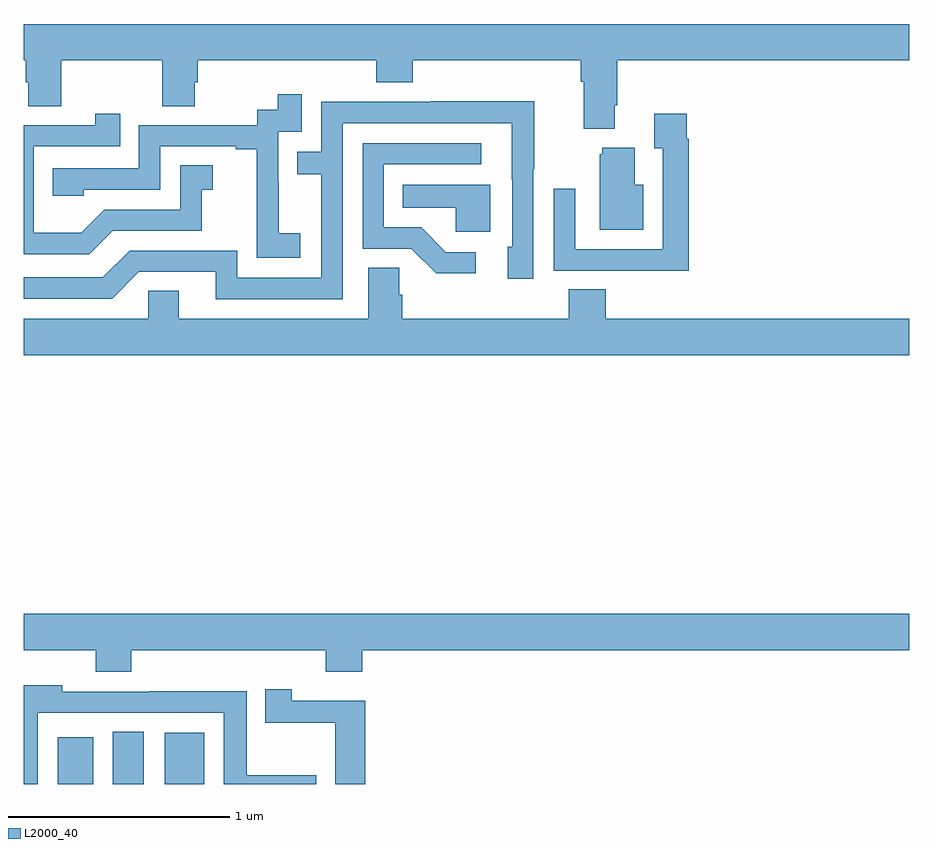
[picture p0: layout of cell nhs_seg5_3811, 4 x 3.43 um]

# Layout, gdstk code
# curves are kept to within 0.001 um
import gdstk
lib = gdstk.Library(unit=1e-6, precision=1e-09)
def R(c, l, rs):  # rectangles x0, y0, x1, y1
    for r in rs: c.add(gdstk.rectangle(r[:2], r[2:], *l))
def P(c, l, *ps):  # polygons
    for p in ps: c.add(gdstk.Polygon(p, *l))
L2000_40 = (2000, 40)

nhs_seg5_3811 = lib.new_cell('nhs_seg5_3811')
R(nhs_seg5_3811, L2000_40, [(335.153,878.799,335.314,879.01), (335.402,878.799,335.542,879.035), (335.636,878.799,335.815,879.031)])
P(nhs_seg5_3811, L2000_40, [(337.669,881.866),(337.682,881.866),(337.682,882.068),(339,882.068),(339,882.232),(335,882.232),(335,882.068),(335.009,882.068),(335.009,881.97),(335.021,881.97),(335.021,881.86),(335.169,881.86),(335.169,882.068),(335.626,882.068),(335.626,881.86),(335.773,881.86),(335.773,881.97),(335.786,881.97),(335.786,882.068),(336.593,882.068),(336.593,881.969),(336.758,881.969),(336.758,882.068),(337.517,882.068),(337.517,881.972),(337.529,881.972),(337.529,881.759),(337.669,881.759)],
  [(336.25,881.287),(336.152,881.287),(336.152,881.516),(336.15,881.516),(336.15,881.745),(336.255,881.745),(336.255,881.914),(336.147,881.914),(336.147,881.844),(336.054,881.844),(336.054,881.775),(335.52,881.775),(335.52,881.58),(335.131,881.58),(335.131,881.457),(335.271,881.457),(335.271,881.484),(335.616,881.484),(335.616,881.679),(335.957,881.679),(335.957,881.667),(336.053,881.667),(336.053,881.383),(336.052,881.383),(336.052,881.177),(336.25,881.177)],
  [(336.441,881.784),(337.205,881.784),(337.206,881.226),(337.187,881.226),(337.187,881.082),(337.302,881.082),(337.302,881.575),(337.305,881.575),(337.305,881.882),(336.841,881.882),(336.841,881.88),(336.345,881.88),(336.345,881.655),(336.235,881.655),(336.235,881.554),(336.345,881.554),(336.345,881.085),(335.964,881.085),(335.964,881.208),(335.478,881.208),(335.358,881.088),(335,881.088),(335,880.992),(335.4,880.992),(335.52,881.112),(335.867,881.112),(335.867,880.989),(336.441,880.989)],
  [(338.003,881.714),(337.996,881.714),(337.996,881.827),(337.847,881.827),(337.847,881.671),(337.887,881.671),(337.887,881.214),(337.491,881.214),(337.491,881.488),(337.395,881.488),(337.395,881.118),(337.711,881.118),(337.711,881.117),(338.003,881.117)],
  [(335.401,881.298),(335.805,881.298),(335.805,881.483),(335.854,881.483),(335.854,881.593),(335.706,881.593),(335.706,881.394),(335.364,881.394),(335.26,881.29),(335.046,881.29),(335.046,881.679),(335.435,881.679),(335.435,881.827),(335.324,881.827),(335.324,881.775),(335,881.775),(335,881.193),(335.296,881.193)],
  [(337.042,881.202),(336.907,881.202),(336.796,881.313),(336.627,881.313),(336.627,881.598),(337.066,881.598),(337.066,881.694),(336.531,881.694),(336.531,881.217),(336.75,881.217),(336.863,881.105),(337.042,881.105)],
  [(337.798,881.506),(337.759,881.506),(337.759,881.674),(337.613,881.674),(337.613,881.643),(337.601,881.643),(337.601,881.303),(337.798,881.303)],
  [(337.108,881.506),(336.712,881.506),(336.712,881.402),(336.951,881.402),(336.951,881.294),(337.108,881.294)],
  [(339,880.9),(337.628,880.9),(337.628,881.033),(337.463,881.033),(337.463,880.9),(336.71,880.9),(336.71,881.009),(336.696,881.009),(336.696,881.132),(336.557,881.132),(336.557,880.9),(335.701,880.9),(335.701,881.027),(335.562,881.027),(335.562,880.9),(335,880.9),(335,880.736),(339,880.736)],
  [(335.486,879.404),(336.365,879.404),(336.365,879.305),(336.53,879.305),(336.53,879.404),(339,879.404),(339,879.568),(335,879.568),(335,879.404),(335.326,879.404),(335.326,879.305),(335.486,879.305)],
  [(335.064,879.12),(335.903,879.12),(335.903,878.799),(336.322,878.799),(336.322,878.838),(336.007,878.838),(336.007,879.218),(335.569,879.218),(335.569,879.216),(335.175,879.216),(335.175,879.244),(335,879.244),(335,878.799),(335.064,878.799)],
  [(336.542,879.175),(336.21,879.175),(336.21,879.226),(336.092,879.226),(336.092,879.076),(336.407,879.076),(336.407,878.799),(336.542,878.799)])

lib.write_gds('nhs_seg5_3811.gds')
